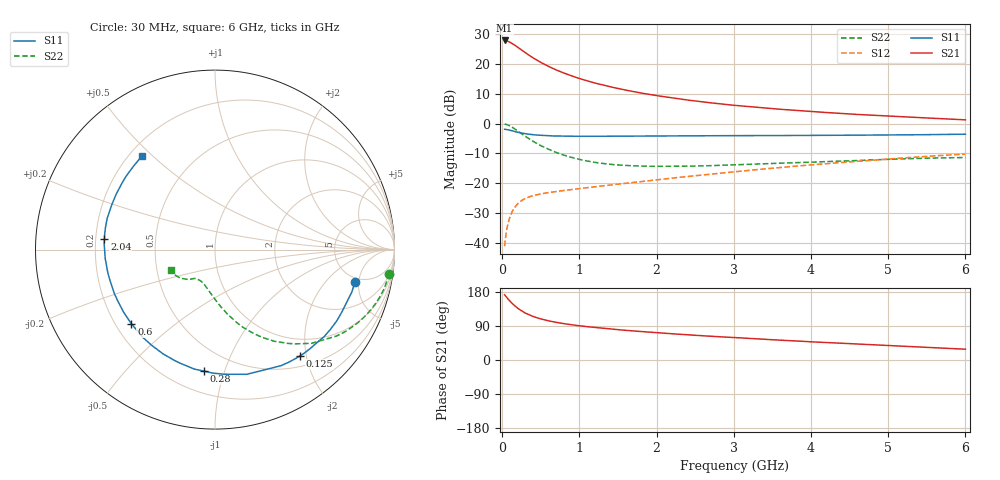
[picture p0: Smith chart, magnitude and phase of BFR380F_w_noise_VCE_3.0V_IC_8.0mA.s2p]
! Infineon Technologies  Discrete & RF Semiconductors
! BFR380F
! VCE =  3.0 V,  IC =  8.0 mA
! Common Emitter S-Parameters:  Nov 2015
# GHz  S  MA  R  50
!  f  S11  S21  S12  S22
! GHz  MAG  ANG  MAG  ANG  MAG  ANG  MAG  ANG
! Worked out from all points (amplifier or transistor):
!   206 points, 30 MHz to 6 GHz, reference 50 ohm
!   highest |S21| = 27.9 dB at 30 MHz (marker M1)
!   |S21| within 3 dB of that: start of sweep to 238.4 MHz
!   unconditionally stable (mu >= 1): 1.929 GHz to 5.096 GHz
!   at 200 MHz: K = 0.19, MSG = 26.3 dB, |S12| = -27.0 dB
!   at 1.56 GHz: K = 0.93, MSG = 15.8 dB, |S12| = -20.2 dB
!   at 6 GHz: K = 0.97, MSG = 5.7 dB, |S12| = -10.3 dB
!   lowest NFmin = 0.82 dB at 450 MHz
!   S11 on the Smith chart (normalised r, x): 30 MHz: 4.41, -4.45; 125 MHz: 0.68, -1.88; 280 MHz: 0.34, -0.85; 600 MHz: 0.26, -0.36; 2.04 GHz: 0.24, +0.04; 6 GHz: 0.25, +0.46
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0.03  0.8005 -13.1  24.84 172.1  0.0087 83.6  0.9799 -7.9
0.05  0.7902 -22.2  24.7 166.5  0.0145 79.6  0.9669 -13.1
0.07  0.786 -30.4  24.16 161.8  0.0197 75.7  0.9461 -18.1
0.1  0.7691 -42.2  23.16 155.2  0.027 70.4  0.9073 -25.1
0.125  0.7579 -51.4  22.17 150.0  0.0324 66.0  0.8695 -30.5
0.15  0.7439 -60.4  21.2 145.0  0.0373 62.5  0.8301 -35.5
0.2  0.7168 -75.8  19.09 136.4  0.0449 56.4  0.7491 -44.2
0.24  0.696 -86.0  17.52 131.1  0.0496 52.6  0.6885 -49.7
0.28  0.6799 -95.2  16.1 126.2  0.0534 49.6  0.6333 -54.6
0.34  0.662 -107.1  14.21 120.0  0.0579 46.2  0.5613 -61.1
0.4  0.6488 -116.6  12.65 114.8  0.0614 44.0  0.5014 -66.4
0.5  0.6333 -129.1  10.61 108.3  0.0657 41.8  0.4241 -73.4
0.6  0.6227 -138.4  9.083 103.3  0.0691 41.0  0.3676 -78.9
0.8  0.6129 -151.8  7.014 95.8  0.0749 41.4  0.2929 -87.7
1.04  0.6096 -162.3  5.494 89.3  0.0818 43.5  0.2429 -95.9
1.4  0.6119 -173.0  4.13 81.8  0.0927 47.3  0.2061 -105.9
2.02  0.619 175.0  2.916 71.7  0.1142 52.7  0.1912 -117.2
2.04  0.6191 174.7  2.89 71.5  0.115 52.9  0.1912 -117.4
3.1  0.6254 161.1  1.972 58.2  0.1587 58.0  0.2035 -127.2
4.1  0.6318 149.6  1.559 47.1  0.2068 58.8  0.2257 -132.7
5.1  0.6434 139.1  1.314 37.3  0.2585 57.6  0.2531 -142.2
6  0.661 128.1  1.152 28.5  0.3072 54.2  0.2689 -155.1
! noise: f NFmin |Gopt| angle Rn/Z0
0.45  0.82  0.13  62  0.11
0.9  0.83  0.2  115  0.09
1.8  1.14  0.34  160  0.08
1.9  1.23  0.35  162  0.07
2.4  1.38  0.38  177  0.08
3.5  2.04  0.48  -161  0.11
